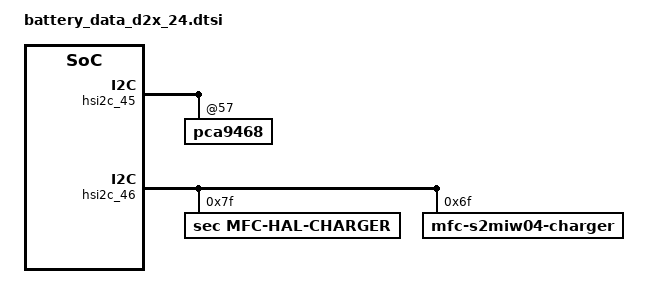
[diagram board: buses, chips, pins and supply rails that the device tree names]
/*
 * SAMSUNG UNIVERSAL9820 board device tree source
 *
 * Copyright (c) 2018 Samsung Electronics Co., Ltd.
 *		http://www.samsung.com
 *
 * This program is free software; you can redistribute it and/or modify
 * it under the terms of the GNU General Public License version 2 as
 * published by the Free Software Foundation.
 */

#include "battery_data_d2x_common.dtsi"
#include "battery_rx_data_idt.dtsi"
#include "battery_rx_data_lsi.dtsi"

/ {
};

&pinctrl_0 {
	 vrect_int: vrect-int {
		 samsung,pins = "gpa3-2";
		 samsung,pin-function = <0>;
		 samsung,pin-pud = <3>;
		 samsung,pin-drv = <0>;
	 };

	chg_gpio_en: chg-gpio-en {
		samsung,pins = "gpa4-1";
		samsung,pin-function = <1>;
		samsung,pin-pud = <0>;
		samsung,pin-drv = <0>;
	};

	pdet_b: pdet-b {
		 samsung,pins = "gpa2-1";
		 samsung,pin-function = <0>;
		 samsung,pin-pud = <3>;
		 samsung,pin-drv = <0>;
	 };
};

&pinctrl_5 {
	 wpc_en: wpc-en {
		 samsung,pins = "gpp1-7";
		 samsung,pin-function = <1>;
		 samsung,pin-pud = <0>;
		 samsung,pin-drv = <0>;
	 };

	 ping_nen: ping-nen {
		 samsung,pins = "gpp2-2";
		 samsung,pin-function = <0>;
		 samsung,pin-pud = <3>;
		 samsung,pin-drv = <0>;
	 };
};

&hsi2c_45 {
	pca9468@57 {
		pinctrl-0     = <&dc_irq &chg_gpio_en>;
	};
};

&hsi2c_46 {
	mfc-hal-charger@7f {
		compatible = "sec,mfc-hal-charger";
		reg = <0x7f>;
		status = "okay";

		battery,wpc_det = <&gpa2 0 0>;

		battery,charger_name = "max77705-charger";
	};

	mfc-s2miw04-charger@3b {
		reg = <0x6f>;
	};
};
